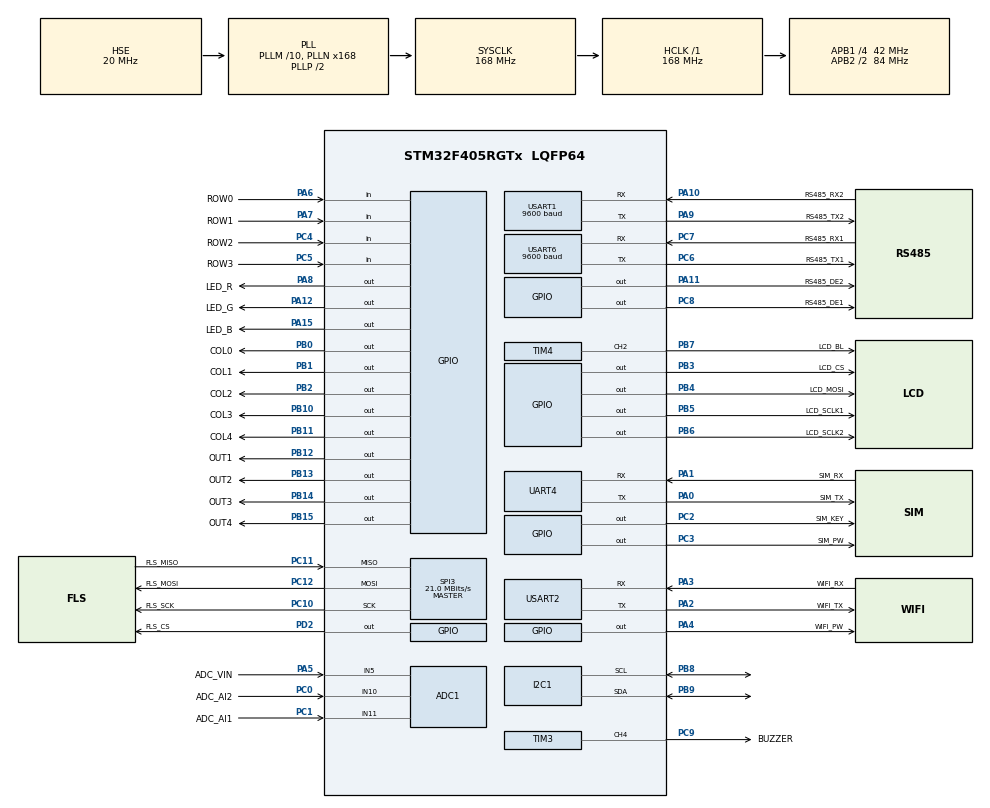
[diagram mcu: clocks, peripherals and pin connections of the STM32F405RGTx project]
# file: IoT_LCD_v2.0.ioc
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ADC1.Channel-0\#ChannelRegularConversion=ADC_CHANNEL_TEMPSENSOR
ADC1.Channel-1\#ChannelRegularConversion=ADC_CHANNEL_5
ADC1.Channel-2\#ChannelRegularConversion=ADC_CHANNEL_10
ADC1.Channel-3\#ChannelRegularConversion=ADC_CHANNEL_11
ADC1.ContinuousConvMode=ENABLE
ADC1.DMAContinuousRequests=ENABLE
ADC1.NbrOfConversion=4
ADC1.NbrOfConversionFlag=1
ADC1.Rank-0\#ChannelRegularConversion=1
ADC1.Rank-1\#ChannelRegularConversion=2
ADC1.Rank-2\#ChannelRegularConversion=3
ADC1.Rank-3\#ChannelRegularConversion=4
ADC1.SamplingTime-0\#ChannelRegularConversion=ADC_SAMPLETIME_480CYCLES
ADC1.SamplingTime-1\#ChannelRegularConversion=ADC_SAMPLETIME_480CYCLES
ADC1.SamplingTime-2\#ChannelRegularConversion=ADC_SAMPLETIME_480CYCLES
ADC1.SamplingTime-3\#ChannelRegularConversion=ADC_SAMPLETIME_480CYCLES
ADC1.master=1
Dma.ADC1.4.Direction=DMA_PERIPH_TO_MEMORY
Dma.ADC1.4.FIFOMode=DMA_FIFOMODE_DISABLE
Dma.ADC1.4.Instance=DMA2_Stream0
Dma.ADC1.4.MemDataAlignment=DMA_MDATAALIGN_HALFWORD
Dma.ADC1.4.MemInc=DMA_MINC_ENABLE
Dma.ADC1.4.Mode=DMA_CIRCULAR
Dma.ADC1.4.PeriphDataAlignment=DMA_PDATAALIGN_HALFWORD
Dma.ADC1.4.PeriphInc=DMA_PINC_DISABLE
Dma.ADC1.4.Priority=DMA_PRIORITY_LOW
Dma.Request0=UART4_RX
Dma.Request1=USART2_RX
Dma.Request2=USART6_RX
Dma.Request3=USART1_RX
Dma.Request4=ADC1
Dma.UART4_RX.0.Direction=DMA_PERIPH_TO_MEMORY
Dma.UART4_RX.0.FIFOMode=DMA_FIFOMODE_DISABLE
Dma.UART4_RX.0.Instance=DMA1_Stream2
Dma.UART4_RX.0.MemDataAlignment=DMA_MDATAALIGN_BYTE
Dma.UART4_RX.0.MemInc=DMA_MINC_ENABLE
Dma.UART4_RX.0.Mode=DMA_CIRCULAR
Dma.UART4_RX.0.PeriphDataAlignment=DMA_PDATAALIGN_BYTE
Dma.UART4_RX.0.PeriphInc=DMA_PINC_DISABLE
Dma.UART4_RX.0.Priority=DMA_PRIORITY_LOW
Dma.USART1_RX.3.Direction=DMA_PERIPH_TO_MEMORY
Dma.USART1_RX.3.FIFOMode=DMA_FIFOMODE_DISABLE
Dma.USART1_RX.3.Instance=DMA2_Stream2
Dma.USART1_RX.3.MemDataAlignment=DMA_MDATAALIGN_BYTE
Dma.USART1_RX.3.MemInc=DMA_MINC_ENABLE
Dma.USART1_RX.3.Mode=DMA_CIRCULAR
Dma.USART1_RX.3.PeriphDataAlignment=DMA_PDATAALIGN_BYTE
Dma.USART1_RX.3.PeriphInc=DMA_PINC_DISABLE
Dma.USART1_RX.3.Priority=DMA_PRIORITY_LOW
Dma.USART2_RX.1.Direction=DMA_PERIPH_TO_MEMORY
Dma.USART2_RX.1.FIFOMode=DMA_FIFOMODE_DISABLE
Dma.USART2_RX.1.Instance=DMA1_Stream5
Dma.USART2_RX.1.MemDataAlignment=DMA_MDATAALIGN_BYTE
Dma.USART2_RX.1.MemInc=DMA_MINC_ENABLE
Dma.USART2_RX.1.Mode=DMA_CIRCULAR
Dma.USART2_RX.1.PeriphDataAlignment=DMA_PDATAALIGN_BYTE
Dma.USART2_RX.1.PeriphInc=DMA_PINC_DISABLE
Dma.USART2_RX.1.Priority=DMA_PRIORITY_LOW
Dma.USART6_RX.2.Direction=DMA_PERIPH_TO_MEMORY
Dma.USART6_RX.2.FIFOMode=DMA_FIFOMODE_DISABLE
Dma.USART6_RX.2.Instance=DMA2_Stream1
Dma.USART6_RX.2.MemDataAlignment=DMA_MDATAALIGN_BYTE
Dma.USART6_RX.2.MemInc=DMA_MINC_ENABLE
Dma.USART6_RX.2.Mode=DMA_CIRCULAR
Dma.USART6_RX.2.PeriphDataAlignment=DMA_PDATAALIGN_BYTE
Dma.USART6_RX.2.PeriphInc=DMA_PINC_DISABLE
Dma.USART6_RX.2.Priority=DMA_PRIORITY_LOW
FREERTOS.Queues01=modbusLCDQueue,1,uint8_t,0,Dynamic,NULL,NULL;modbusNetworkQueue,1,uint8_t,0,Dynamic,NULL,NULL;changeNumConfigQueue,1,uint8_t,0,Dynamic,NULL,NULL;writeConfigQueue,1,uint8_t,0,Dynamic,NULL,NULL;responseWriteQueue,1,uint8_t,0,Dynamic,NULL,NULL;fetchControlQueue,1,uint8_t,0,Dynamic,NULL,NULL;modbusCalibQueue,1,ModbusCalib,0,Dynamic,NULL,NULL;responseCommandCalib,1,uint8_t,0,Dynamic,NULL,NULL;displayStatusCalib,1,uint8_t,0,Dynamic,NULL,NULL;responseStatusCalibQueue,1,ResponseCalib,0,Dynamic,NULL,NULL;flagGetValueCalib,1,uint8_t,0,Dynamic,NULL,NULL
FREERTOS.Tasks01=initTask,40,1024,StartInitTask,Default,NULL,Dynamic,NULL,NULL;displayLCDTask,24,2048,StartDisplayLCDTask,Default,NULL,Dynamic,NULL,NULL;modbusMasterTas,24,2048,StartModbusMasterTask,Default,NULL,Dynamic,NULL,NULL;modbusSlaveTask,24,2048,StartModbusSlaveTask,Default,NULL,Dynamic,NULL,NULL;networkTask,24,2048,StartNetworkTask,Default,NULL,Dynamic,NULL,NULL
FREERTOS.configTOTAL_HEAP_SIZE=51200
FREERTOS.configUSE_IDLE_HOOK=1
FREERTOS.configUSE_NEWLIB_REENTRANT=1
FREERTOS.configUSE_TICK_HOOK=1
IWDG.Prescaler=IWDG_PRESCALER_256
Mcu.Family=STM32F4
Mcu.Name=STM32F405RGTx
Mcu.Package=LQFP64
NVIC.ADC_IRQn=true\:5\:0\:false\:false\:true\:true\:true\:true
NVIC.DMA1_Stream2_IRQn=true\:5\:0\:false\:false\:true\:true\:false\:true
NVIC.DMA1_Stream5_IRQn=true\:5\:0\:false\:false\:true\:true\:false\:true
NVIC.DMA2_Stream0_IRQn=true\:5\:0\:false\:false\:true\:true\:false\:true
NVIC.DMA2_Stream1_IRQn=true\:5\:0\:false\:false\:true\:true\:false\:true
NVIC.DMA2_Stream2_IRQn=true\:5\:0\:false\:false\:true\:true\:false\:true
NVIC.PriorityGroup=NVIC_PRIORITYGROUP_4
NVIC.SPI3_IRQn=true\:5\:0\:false\:false\:true\:true\:true\:true
NVIC.TIM1_UP_TIM10_IRQn=true\:15\:0\:false\:false\:true\:false\:false\:true
NVIC.TIM8_UP_TIM13_IRQn=true\:5\:0\:false\:false\:true\:true\:true\:true
NVIC.TimeBase=TIM1_UP_TIM10_IRQn
NVIC.TimeBaseIP=TIM1
NVIC.UART4_IRQn=true\:5\:0\:false\:false\:true\:true\:true\:true
NVIC.USART1_IRQn=true\:5\:0\:false\:false\:true\:true\:true\:true
NVIC.USART2_IRQn=true\:5\:0\:false\:false\:true\:true\:true\:true
NVIC.USART6_IRQn=true\:5\:0\:false\:false\:true\:true\:true\:true
PA0-WKUP.GPIO_Label=SIM_TX
PA0-WKUP.Mode=Asynchronous
PA0-WKUP.Signal=UART4_TX
PA1.GPIO_Label=SIM_RX
PA1.Mode=Asynchronous
PA1.Signal=UART4_RX
PA10.GPIO_Label=RS485_RX2
PA10.Mode=Asynchronous
PA10.Signal=USART1_RX
PA11.GPIO_Label=RS485_DE2
PA11.Signal=GPIO_Output
PA12.GPIO_Label=LED_G
PA12.Signal=GPIO_Output
PA13.GPIO_Label=DBG_DIO
PA13.Mode=Serial_Wire
PA13.Signal=SYS_JTMS-SWDIO
PA14.GPIO_Label=DBG_CLK
PA14.Mode=Serial_Wire
PA14.Signal=SYS_JTCK-SWCLK
PA15.GPIO_Label=LED_B
PA15.Signal=GPIO_Output
PA2.GPIO_Label=WIFI_TX
PA2.Mode=Asynchronous
PA2.Signal=USART2_TX
PA3.GPIO_Label=WIFI_RX
PA3.Mode=Asynchronous
PA3.Signal=USART2_RX
PA4.GPIO_Label=WIFI_PW
PA4.Signal=GPIO_Output
PA5.GPIO_Label=ADC_VIN
PA5.Signal=ADCx_IN5
PA6.GPIO_Label=ROW0
PA6.GPIO_PuPd=GPIO_PULLUP
PA6.Signal=GPIO_Input
PA7.GPIO_Label=ROW1
PA7.GPIO_PuPd=GPIO_PULLUP
PA7.Signal=GPIO_Input
PA8.GPIO_Label=LED_R
PA8.Signal=GPIO_Output
PA9.GPIO_Label=RS485_TX2
PA9.Mode=Asynchronous
PA9.Signal=USART1_TX
PB0.GPIO_Label=COL0
PB0.GPIO_Speed=GPIO_SPEED_FREQ_HIGH
PB0.PinState=GPIO_PIN_SET
PB0.Signal=GPIO_Output
PB1.GPIO_Label=COL1
PB1.GPIO_Speed=GPIO_SPEED_FREQ_HIGH
PB1.PinState=GPIO_PIN_SET
PB1.Signal=GPIO_Output
PB10.GPIO_Label=COL3
PB10.GPIO_Speed=GPIO_SPEED_FREQ_HIGH
PB10.PinState=GPIO_PIN_SET
PB10.Signal=GPIO_Output
PB11.GPIO_Label=COL4
PB11.GPIO_Speed=GPIO_SPEED_FREQ_HIGH
PB11.PinState=GPIO_PIN_SET
PB11.Signal=GPIO_Output
PB12.GPIO_Label=OUT1
PB12.Signal=GPIO_Output
PB13.GPIO_Label=OUT2
PB13.Signal=GPIO_Output
PB14.GPIO_Label=OUT3
PB14.Signal=GPIO_Output
PB15.GPIO_Label=OUT4
PB15.Signal=GPIO_Output
PB2.GPIO_Label=COL2
PB2.GPIO_Speed=GPIO_SPEED_FREQ_HIGH
PB2.PinState=GPIO_PIN_SET
PB2.Signal=GPIO_Output
PB3.GPIO_Label=LCD_CS
PB3.GPIO_Speed=GPIO_SPEED_FREQ_VERY_HIGH
PB3.Signal=GPIO_Output
PB4.GPIO_Label=LCD_MOSI
PB4.GPIO_Speed=GPIO_SPEED_FREQ_VERY_HIGH
PB4.Signal=GPIO_Output
PB5.GPIO_Label=LCD_SCLK1
PB5.GPIO_Speed=GPIO_SPEED_FREQ_VERY_HIGH
PB5.Signal=GPIO_Output
PB6.GPIO_Label=LCD_SCLK2
PB6.GPIO_Speed=GPIO_SPEED_FREQ_VERY_HIGH
PB6.Signal=GPIO_Output
PB7.GPIO_Label=LCD_BL
PB7.Signal=S_TIM4_CH2
PB8.Mode=I2C
PB8.Signal=I2C1_SCL
PB9.Mode=I2C
PB9.Signal=I2C1_SDA
PC0.GPIO_Label=ADC_AI2
PC0.Signal=ADCx_IN10
PC1.GPIO_Label=ADC_AI1
PC1.Signal=ADCx_IN11
PC10.GPIO_Label=FLS_SCK
PC10.Mode=Full_Duplex_Master
PC10.Signal=SPI3_SCK
PC11.GPIO_Label=FLS_MISO
PC11.Mode=Full_Duplex_Master
PC11.Signal=SPI3_MISO
PC12.GPIO_Label=FLS_MOSI
PC12.Mode=Full_Duplex_Master
PC12.Signal=SPI3_MOSI
PC14-OSC32_IN.Mode=LSE-External-Oscillator
PC14-OSC32_IN.Signal=RCC_OSC32_IN
PC15-OSC32_OUT.Mode=LSE-External-Oscillator
PC15-OSC32_OUT.Signal=RCC_OSC32_OUT
PC2.GPIO_Label=SIM_KEY
PC2.Signal=GPIO_Output
PC3.GPIO_Label=SIM_PW
PC3.Signal=GPIO_Output
PC4.GPIO_Label=ROW2
PC4.GPIO_PuPd=GPIO_PULLUP
PC4.Signal=GPIO_Input
PC5.GPIO_Label=ROW3
PC5.GPIO_PuPd=GPIO_PULLUP
PC5.Signal=GPIO_Input
PC6.GPIO_Label=RS485_TX1
PC6.Mode=Asynchronous
PC6.Signal=USART6_TX
PC7.GPIO_Label=RS485_RX1
PC7.Mode=Asynchronous
PC7.Signal=USART6_RX
PC8.GPIO_Label=RS485_DE1
PC8.Signal=GPIO_Output
PC9.GPIO_Label=BUZZER
PC9.Signal=S_TIM3_CH4
PD2.GPIO_Label=FLS_CS
PD2.GPIO_Speed=GPIO_SPEED_FREQ_VERY_HIGH
PD2.Signal=GPIO_Output
PH0-OSC_IN.Mode=HSE-External-Oscillator
PH0-OSC_IN.Signal=RCC_OSC_IN
PH1-OSC_OUT.Mode=HSE-External-Oscillator
PH1-OSC_OUT.Signal=RCC_OSC_OUT
ProjectManager.HeapSize=0x200
ProjectManager.StackSize=0x400
ProjectManager.TargetToolchain=STM32CubeIDE
RCC.48MHZClocksFreq_Value=84000000
RCC.AHBFreq_Value=168000000
RCC.APB1CLKDivider=RCC_HCLK_DIV4
RCC.APB1Freq_Value=42000000
RCC.APB1TimFreq_Value=84000000
RCC.APB2CLKDivider=RCC_HCLK_DIV2
RCC.APB2Freq_Value=84000000
RCC.APB2TimFreq_Value=168000000
RCC.CortexFreq_Value=168000000
RCC.HCLKFreq_Value=168000000
RCC.HSE_VALUE=20000000
RCC.HSI_VALUE=16000000
RCC.PLLM=10
RCC.PLLN=168
RCC.PLLSourceVirtual=RCC_PLLSOURCE_HSE
RCC.RCC_RTC_Clock_Source=RCC_RTCCLKSOURCE_LSE
RCC.RCC_RTC_Clock_SourceVirtual=RCC_RTCCLKSOURCE_LSE
RCC.SYSCLKFreq_VALUE=168000000
RCC.SYSCLKSource=RCC_SYSCLKSOURCE_PLLCLK
RCC.VCOOutputFreq_Value=336000000
SH.ADCx_IN10.0=ADC1_IN10,IN10
SH.ADCx_IN11.0=ADC1_IN11,IN11
SH.ADCx_IN5.0=ADC1_IN5,IN5
SH.S_TIM3_CH4.0=TIM3_CH4,PWM Generation4 CH4
SH.S_TIM4_CH2.0=TIM4_CH2,PWM Generation2 CH2
SPI3.CalculateBaudRate=21.0 MBits/s
SPI3.Direction=SPI_DIRECTION_2LINES
SPI3.Mode=SPI_MODE_MASTER
SPI3.VirtualType=VM_MASTER
TIM13.Prescaler=83
TIM3.Channel-PWM\ Generation4\ CH4=TIM_CHANNEL_4
TIM3.Period=999
TIM3.Prescaler=55
TIM3.Pulse-PWM\ Generation4\ CH4=499
TIM4.Channel-PWM\ Generation2\ CH2=TIM_CHANNEL_2
TIM4.Period=99
TIM4.Prescaler=839
TIM4.Pulse-PWM\ Generation2\ CH2=49
UART4.VirtualMode=Asynchronous
USART1.BaudRate=9600
USART1.VirtualMode=VM_ASYNC
USART2.VirtualMode=VM_ASYNC
USART6.BaudRate=9600
USART6.VirtualMode=VM_ASYNC
VP_ADC1_TempSens_Input.Mode=IN-TempSens
VP_FREERTOS_VS_CMSIS_V2.Mode=CMSIS_V2
VP_IWDG_VS_IWDG.Mode=IWDG_Activate
VP_RTC_VS_RTC_Activate.Mode=RTC_Enabled
VP_RTC_VS_RTC_Calendar.Mode=RTC_Calendar
VP_SYS_VS_tim1.Mode=TIM1
VP_TIM13_VS_ClockSourceINT.Mode=Enable_Timer
board=custom

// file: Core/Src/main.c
/* USER CODE BEGIN Header */
/**
  ******************************************************************************
  * @file           : main.c
  * @brief          : Main program body
  ******************************************************************************
  * @attention
  *
  * <h2><center>&copy; Copyright (c) 2021 STMicroelectronics.
  * All rights reserved.</center></h2>
  *
  * This software component is licensed by ST under BSD 3-Clause license,
  * the "License"; You may not use this file except in compliance with the
  * License. You may obtain a copy of the License at:
  *                        opensource.org/licenses/BSD-3-Clause
  *
  ******************************************************************************
  */
/* USER CODE END Header */
#include "main.h"
#include "cmsis_os.h"

/* USER CODE BEGIN Includes */
#include "process.hpp"
#include "lcd_display.hpp"
#include "ButtonMatrix.h"
#include "type_list.hpp"
#include "network.hpp"
#include "internal_flash.hpp"
#include "spi_flash.hpp"
/* USER CODE END Includes */

ADC_HandleTypeDef hadc1;
DMA_HandleTypeDef hdma_adc1;

I2C_HandleTypeDef hi2c1;

IWDG_HandleTypeDef hiwdg;

RTC_HandleTypeDef hrtc;

SPI_HandleTypeDef hspi3;

TIM_HandleTypeDef htim3;
TIM_HandleTypeDef htim4;
TIM_HandleTypeDef htim13;

UART_HandleTypeDef huart4;
UART_HandleTypeDef huart1;
UART_HandleTypeDef huart2;
UART_HandleTypeDef huart6;
DMA_HandleTypeDef hdma_uart4_rx;
DMA_HandleTypeDef hdma_usart1_rx;
DMA_HandleTypeDef hdma_usart2_rx;
DMA_HandleTypeDef hdma_usart6_rx;

/* Definitions for initTask */
osThreadId_t initTaskHandle;
const osThreadAttr_t initTask_attributes = {
  .name = "initTask",
  .stack_size = 1024 * 4,
  .priority = (osPriority_t) osPriorityHigh,
};
/* Definitions for displayLCDTask */
osThreadId_t displayLCDTaskHandle;
const osThreadAttr_t displayLCDTask_attributes = {
  .name = "displayLCDTask",
  .stack_size = 2048 * 4,
  .priority = (osPriority_t) osPriorityNormal,
};
/* Definitions for modbusMasterTas */
osThreadId_t modbusMasterTasHandle;
const osThreadAttr_t modbusMasterTas_attributes = {
  .name = "modbusMasterTas",
  .stack_size = 2048 * 4,
  .priority = (osPriority_t) osPriorityNormal,
};
/* Definitions for modbusSlaveTask */
osThreadId_t modbusSlaveTaskHandle;
const osThreadAttr_t modbusSlaveTask_attributes = {
  .name = "modbusSlaveTask",
  .stack_size = 2048 * 4,
  .priority = (osPriority_t) osPriorityNormal,
};
/* Definitions for networkTask */
osThreadId_t networkTaskHandle;
const osThreadAttr_t networkTask_attributes = {
  .name = "networkTask",
  .stack_size = 2048 * 4,
  .priority = (osPriority_t) osPriorityNormal,
};
/* Definitions for modbusLCDQueue */
osMessageQueueId_t modbusLCDQueueHandle;
const osMessageQueueAttr_t modbusLCDQueue_attributes = {
  .name = "modbusLCDQueue"
};
/* Definitions for modbusNetworkQueue */
osMessageQueueId_t modbusNetworkQueueHandle;
const osMessageQueueAttr_t modbusNetworkQueue_attributes = {
  .name = "modbusNetworkQueue"
};
/* Definitions for changeNumConfigQueue */
osMessageQueueId_t changeNumConfigQueueHandle;
const osMessageQueueAttr_t changeNumConfigQueue_attributes = {
  .name = "changeNumConfigQueue"
};
/* Definitions for writeConfigQueue */
osMessageQueueId_t writeConfigQueueHandle;
const osMessageQueueAttr_t writeConfigQueue_attributes = {
  .name = "writeConfigQueue"
};
/* Definitions for responseWriteQueue */
osMessageQueueId_t responseWriteQueueHandle;
const osMessageQueueAttr_t responseWriteQueue_attributes = {
  .name = "responseWriteQueue"
};
/* Definitions for fetchControlQueue */
osMessageQueueId_t fetchControlQueueHandle;
const osMessageQueueAttr_t fetchControlQueue_attributes = {
  .name = "fetchControlQueue"
};
/* Definitions for modbusCalibQueue */
osMessageQueueId_t modbusCalibQueueHandle;
const osMessageQueueAttr_t modbusCalibQueue_attributes = {
  .name = "modbusCalibQueue"
};
/* Definitions for responseCommandCalib */
osMessageQueueId_t responseCommandCalibHandle;
const osMessageQueueAttr_t responseCommandCalib_attributes = {
  .name = "responseCommandCalib"
};
/* Definitions for displayStatusCalib */
osMessageQueueId_t displayStatusCalibHandle;
const osMessageQueueAttr_t displayStatusCalib_attributes = {
  .name = "displayStatusCalib"
};
/* Definitions for responseStatusCalibQueue */
osMessageQueueId_t responseStatusCalibQueueHandle;
const osMessageQueueAttr_t responseStatusCalibQueue_attributes = {
  .name = "responseStatusCalibQueue"
};
/* Definitions for flagGetValueCalib */
osMessageQueueId_t flagGetValueCalibHandle;
const osMessageQueueAttr_t flagGetValueCalib_attributes = {
  .name = "flagGetValueCalib"
};

void SystemClock_Config(void);
static void MX_GPIO_Init(void);
static void MX_RTC_Init(void);
static void MX_DMA_Init(void);
static void MX_IWDG_Init(void);
static void MX_UART4_Init(void);
static void MX_USART2_UART_Init(void);
static void MX_USART6_UART_Init(void);
static void MX_USART1_UART_Init(void);
static void MX_ADC1_Init(void);
static void MX_SPI3_Init(void);
static void MX_I2C1_Init(void);
static void MX_TIM3_Init(void);
static void MX_TIM4_Init(void);
static void MX_TIM13_Init(void);
void StartInitTask(void *argument);
void StartDisplayLCDTask(void *argument);
void StartModbusMasterTask(void *argument);
void StartModbusSlaveTask(void *argument);
void StartNetworkTask(void *argument);

int main(void)
{
  /* USER CODE BEGIN 1 */
	System_GetLastReason();
  /* USER CODE END 1 */

  /* MCU Configuration--------------------------------------------------------*/

  /* Reset of all peripherals, Initializes the Flash interface and the Systick. */
  HAL_Init();

  /* Configure the system clock */
  SystemClock_Config();

  /* Initialize all configured peripherals */
  MX_GPIO_Init();
  MX_RTC_Init();
  MX_DMA_Init();
  MX_IWDG_Init();
  MX_UART4_Init();
  MX_USART2_UART_Init();
  MX_USART6_UART_Init();
  MX_USART1_UART_Init();
  MX_ADC1_Init();
  MX_SPI3_Init();
  MX_I2C1_Init();
  MX_TIM3_Init();
  MX_TIM4_Init();
  MX_TIM13_Init();

  /* Init scheduler */
  osKernelInitialize();

  /* Create the queue(s) */
  /* creation of modbusLCDQueue */
  modbusLCDQueueHandle = osMessageQueueNew (1, sizeof(uint8_t), &modbusLCDQueue_attributes);

  /* creation of modbusNetworkQueue */
  modbusNetworkQueueHandle = osMessageQueueNew (1, sizeof(uint8_t), &modbusNetworkQueue_attributes);

  /* creation of changeNumConfigQueue */
  changeNumConfigQueueHandle = osMessageQueueNew (1, sizeof(uint8_t), &changeNumConfigQueue_attributes);

  /* creation of writeConfigQueue */
  writeConfigQueueHandle = osMessageQueueNew (1, sizeof(uint8_t), &writeConfigQueue_attributes);

  /* creation of responseWriteQueue */
  responseWriteQueueHandle = osMessageQueueNew (1, sizeof(uint8_t), &responseWriteQueue_attributes);

  /* creation of fetchControlQueue */
  fetchControlQueueHandle = osMessageQueueNew (1, sizeof(uint8_t), &fetchControlQueue_attributes);

  /* creation of modbusCalibQueue */
  modbusCalibQueueHandle = osMessageQueueNew (1, sizeof(ModbusCalib), &modbusCalibQueue_attributes);

  /* creation of responseCommandCalib */
  responseCommandCalibHandle = osMessageQueueNew (1, sizeof(uint8_t), &responseCommandCalib_attributes);

  /* creation of displayStatusCalib */
  displayStatusCalibHandle = osMessageQueueNew (1, sizeof(uint8_t), &displayStatusCalib_attributes);

  /* creation of responseStatusCalibQueue */
  responseStatusCalibQueueHandle = osMessageQueueNew (1, sizeof(ResponseCalib), &responseStatusCalibQueue_attributes);

  /* creation of flagGetValueCalib */
  flagGetValueCalibHandle = osMessageQueueNew (1, sizeof(uint8_t), &flagGetValueCalib_attributes);

  /* Create the thread(s) */
  /* creation of initTask */
  initTaskHandle = osThreadNew(StartInitTask, NULL, &initTask_attributes);

  /* creation of displayLCDTask */
  displayLCDTaskHandle = osThreadNew(StartDisplayLCDTask, NULL, &displayLCDTask_attributes);

  /* creation of modbusMasterTas */
  modbusMasterTasHandle = osThreadNew(StartModbusMasterTask, NULL, &modbusMasterTas_attributes);

  /* creation of modbusSlaveTask */
  modbusSlaveTaskHandle = osThreadNew(StartModbusSlaveTask, NULL, &modbusSlaveTask_attributes);

  /* creation of networkTask */
  networkTaskHandle = osThreadNew(StartNetworkTask, NULL, &networkTask_attributes);

  /* Start scheduler */
  osKernelStart();

  /* We should never get here as control is now taken by the scheduler */
  /* Infinite loop */
  while (1)
  {

  }
}

void SystemClock_Config(void)
{
  RCC_OscInitTypeDef RCC_OscInitStruct = {0};
  RCC_ClkInitTypeDef RCC_ClkInitStruct = {0};

  /** Configure the main internal regulator output voltage
  */
  __HAL_RCC_PWR_CLK_ENABLE();
  __HAL_PWR_VOLTAGESCALING_CONFIG(PWR_REGULATOR_VOLTAGE_SCALE1);
  /** Initializes the RCC Oscillators according to the specified parameters
  * in the RCC_OscInitTypeDef structure.
  */
  RCC_OscInitStruct.OscillatorType = RCC_OSCILLATORTYPE_LSI|RCC_OSCILLATORTYPE_HSE
                              |RCC_OSCILLATORTYPE_LSE;
  RCC_OscInitStruct.HSEState = RCC_HSE_ON;
  RCC_OscInitStruct.LSEState = RCC_LSE_ON;
  RCC_OscInitStruct.LSIState = RCC_LSI_ON;
  RCC_OscInitStruct.PLL.PLLState = RCC_PLL_ON;
  RCC_OscInitStruct.PLL.PLLSource = RCC_PLLSOURCE_HSE;
  RCC_OscInitStruct.PLL.PLLM = 10;
  RCC_OscInitStruct.PLL.PLLN = 168;
  RCC_OscInitStruct.PLL.PLLP = RCC_PLLP_DIV2;
  RCC_OscInitStruct.PLL.PLLQ = 4;
  if (HAL_RCC_OscConfig(&RCC_OscInitStruct) != HAL_OK)
  {
    Error_Handler();
  }
  /** Initializes the CPU, AHB and APB buses clocks
  */
  RCC_ClkInitStruct.ClockType = RCC_CLOCKTYPE_HCLK|RCC_CLOCKTYPE_SYSCLK
                              |RCC_CLOCKTYPE_PCLK1|RCC_CLOCKTYPE_PCLK2;
  RCC_ClkInitStruct.SYSCLKSource = RCC_SYSCLKSOURCE_PLLCLK;
  RCC_ClkInitStruct.AHBCLKDivider = RCC_SYSCLK_DIV1;
  RCC_ClkInitStruct.APB1CLKDivider = RCC_HCLK_DIV4;
  RCC_ClkInitStruct.APB2CLKDivider = RCC_HCLK_DIV2;

  if (HAL_RCC_ClockConfig(&RCC_ClkInitStruct, FLASH_LATENCY_5) != HAL_OK)
  {
    Error_Handler();
  }
}

static void MX_ADC1_Init(void)
{

  ADC_ChannelConfTypeDef sConfig = {0};

  /** Configure the global features of the ADC (Clock, Resolution, Data Alignment and number of conversion)
  */
  hadc1.Instance = ADC1;
  hadc1.Init.ClockPrescaler = ADC_CLOCK_SYNC_PCLK_DIV4;
  hadc1.Init.Resolution = ADC_RESOLUTION_12B;
  hadc1.Init.ScanConvMode = ENABLE;
  hadc1.Init.ContinuousConvMode = ENABLE;
  hadc1.Init.DiscontinuousConvMode = DISABLE;
  hadc1.Init.ExternalTrigConvEdge = ADC_EXTERNALTRIGCONVEDGE_NONE;
  hadc1.Init.ExternalTrigConv = ADC_SOFTWARE_START;
  hadc1.Init.DataAlign = ADC_DATAALIGN_RIGHT;
  hadc1.Init.NbrOfConversion = 4;
  hadc1.Init.DMAContinuousRequests = ENABLE;
  hadc1.Init.EOCSelection = ADC_EOC_SINGLE_CONV;
  if (HAL_ADC_Init(&hadc1) != HAL_OK)
  {
    Error_Handler();
  }
  /** Configure for the selected ADC regular channel its corresponding rank in the sequencer and its sample time.
  */
  sConfig.Channel = ADC_CHANNEL_TEMPSENSOR;
  sConfig.Rank = 1;
  sConfig.SamplingTime = ADC_SAMPLETIME_480CYCLES;
  if (HAL_ADC_ConfigChannel(&hadc1, &sConfig) != HAL_OK)
  {
    Error_Handler();
  }
  /** Configure for the selected ADC regular channel its corresponding rank in the sequencer and its sample time.
  */
  sConfig.Channel = ADC_CHANNEL_5;
  sConfig.Rank = 2;
  if (HAL_ADC_ConfigChannel(&hadc1, &sConfig) != HAL_OK)
  {
    Error_Handler();
  }
  /** Configure for the selected ADC regular channel its corresponding rank in the sequencer and its sample time.
  */
  sConfig.Channel = ADC_CHANNEL_10;
  sConfig.Rank = 3;
  if (HAL_ADC_ConfigChannel(&hadc1, &sConfig) != HAL_OK)
  {
    Error_Handler();
  }
  /** Configure for the selected ADC regular channel its corresponding rank in the sequencer and its sample time.
  */
  sConfig.Channel = ADC_CHANNEL_11;
  sConfig.Rank = 4;
  if (HAL_ADC_ConfigChannel(&hadc1, &sConfig) != HAL_OK)
  {
    Error_Handler();
  }

}

static void MX_I2C1_Init(void)
{

  hi2c1.Instance = I2C1;
  hi2c1.Init.ClockSpeed = 100000;
  hi2c1.Init.DutyCycle = I2C_DUTYCYCLE_2;
  hi2c1.Init.OwnAddress1 = 0;
  hi2c1.Init.AddressingMode = I2C_ADDRESSINGMODE_7BIT;
  hi2c1.Init.DualAddressMode = I2C_DUALADDRESS_DISABLE;
  hi2c1.Init.OwnAddress2 = 0;
  hi2c1.Init.GeneralCallMode = I2C_GENERALCALL_DISABLE;
  hi2c1.Init.NoStretchMode = I2C_NOSTRETCH_DISABLE;
  if (HAL_I2C_Init(&hi2c1) != HAL_OK)
  {
    Error_Handler();
  }

}

static void MX_IWDG_Init(void)
{

  /* USER CODE BEGIN IWDG_Init 0 */
	__HAL_DBGMCU_FREEZE_IWDG();
  /* USER CODE END IWDG_Init 0 */

  hiwdg.Instance = IWDG;
  hiwdg.Init.Prescaler = IWDG_PRESCALER_256;
  hiwdg.Init.Reload = 4095;
  if (HAL_IWDG_Init(&hiwdg) != HAL_OK)
  {
    Error_Handler();
  }

}

static void MX_RTC_Init(void)
{

  RTC_TimeTypeDef sTime = {0};
  RTC_DateTypeDef sDate = {0};

  /** Initialize RTC Only
  */
  hrtc.Instance = RTC;
  hrtc.Init.HourFormat = RTC_HOURFORMAT_24;
  hrtc.Init.AsynchPrediv = 127;
  hrtc.Init.SynchPrediv = 255;
  hrtc.Init.OutPut = RTC_OUTPUT_DISABLE;
  hrtc.Init.OutPutPolarity = RTC_OUTPUT_POLARITY_HIGH;
  hrtc.Init.OutPutType = RTC_OUTPUT_TYPE_OPENDRAIN;
  if (HAL_RTC_Init(&hrtc) != HAL_OK)
  {
    Error_Handler();
  }

  /* USER CODE BEGIN Check_RTC_BKUP */
  if(HAL_RTCEx_BKUPRead(&hrtc, RTC_BKP_DR1) == 0x2710)
  	return;
  /* USER CODE END Check_RTC_BKUP */

  /** Initialize RTC and set the Time and Date
  */
  sTime.Hours = 0x0;
  sTime.Minutes = 0x0;
  sTime.Seconds = 0x0;
  sTime.DayLightSaving = RTC_DAYLIGHTSAVING_NONE;
  sTime.StoreOperation = RTC_STOREOPERATION_RESET;
  if (HAL_RTC_SetTime(&hrtc, &sTime, RTC_FORMAT_BCD) != HAL_OK)
  {
    Error_Handler();
  }
  sDate.WeekDay = RTC_WEEKDAY_MONDAY;
  sDate.Month = RTC_MONTH_JANUARY;
  sDate.Date = 0x1;
  sDate.Year = 0x0;

  if (HAL_RTC_SetDate(&hrtc, &sDate, RTC_FORMAT_BCD) != HAL_OK)
  {
    Error_Handler();
  }
  /* USER CODE BEGIN RTC_Init 2 */
  HAL_RTCEx_BKUPWrite(&hrtc, RTC_BKP_DR1, 0x2710);
  /* USER CODE END RTC_Init 2 */

}

static void MX_SPI3_Init(void)
{

  /* SPI3 parameter configuration*/
  hspi3.Instance = SPI3;
  hspi3.Init.Mode = SPI_MODE_MASTER;
  hspi3.Init.Direction = SPI_DIRECTION_2LINES;
  hspi3.Init.DataSize = SPI_DATASIZE_8BIT;
  hspi3.Init.CLKPolarity = SPI_POLARITY_LOW;
  hspi3.Init.CLKPhase = SPI_PHASE_1EDGE;
  hspi3.Init.NSS = SPI_NSS_SOFT;
  hspi3.Init.BaudRatePrescaler = SPI_BAUDRATEPRESCALER_2;
  hspi3.Init.FirstBit = SPI_FIRSTBIT_MSB;
  hspi3.Init.TIMode = SPI_TIMODE_DISABLE;
  hspi3.Init.CRCCalculation = SPI_CRCCALCULATION_DISABLE;
  hspi3.Init.CRCPolynomial = 10;
  if (HAL_SPI_Init(&hspi3) != HAL_OK)
  {
    Error_Handler();
  }

}

static void MX_TIM3_Init(void)
{

  TIM_MasterConfigTypeDef sMasterConfig = {0};
  TIM_OC_InitTypeDef sConfigOC = {0};

  htim3.Instance = TIM3;
  htim3.Init.Prescaler = 55;
  htim3.Init.CounterMode = TIM_COUNTERMODE_UP;
  htim3.Init.Period = 999;
  htim3.Init.ClockDivision = TIM_CLOCKDIVISION_DIV1;
  htim3.Init.AutoReloadPreload = TIM_AUTORELOAD_PRELOAD_DISABLE;
  if (HAL_TIM_PWM_Init(&htim3) != HAL_OK)
  {
    Error_Handler();
  }
  sMasterConfig.MasterOutputTrigger = TIM_TRGO_RESET;
  sMasterConfig.MasterSlaveMode = TIM_MASTERSLAVEMODE_DISABLE;
  if (HAL_TIMEx_MasterConfigSynchronization(&htim3, &sMasterConfig) != HAL_OK)
  {
    Error_Handler();
  }
  sConfigOC.OCMode = TIM_OCMODE_PWM1;
  sConfigOC.Pulse = 499;
  sConfigOC.OCPolarity = TIM_OCPOLARITY_HIGH;
  sConfigOC.OCFastMode = TIM_OCFAST_DISABLE;
  if (HAL_TIM_PWM_ConfigChannel(&htim3, &sConfigOC, TIM_CHANNEL_4) != HAL_OK)
  {
    Error_Handler();
  }
  HAL_TIM_MspPostInit(&htim3);

}

static void MX_TIM4_Init(void)
{

  TIM_MasterConfigTypeDef sMasterConfig = {0};
  TIM_OC_InitTypeDef sConfigOC = {0};

  htim4.Instance = TIM4;
  htim4.Init.Prescaler = 839;
  htim4.Init.CounterMode = TIM_COUNTERMODE_UP;
  htim4.Init.Period = 99;
  htim4.Init.ClockDivision = TIM_CLOCKDIVISION_DIV1;
  htim4.Init.AutoReloadPreload = TIM_AUTORELOAD_PRELOAD_DISABLE;
  if (HAL_TIM_PWM_Init(&htim4) != HAL_OK)
  {
    Error_Handler();
  }
  sMasterConfig.MasterOutputTrigger = TIM_TRGO_RESET;
  sMasterConfig.MasterSlaveMode = TIM_MASTERSLAVEMODE_DISABLE;
  if (HAL_TIMEx_MasterConfigSynchronization(&htim4, &sMasterConfig) != HAL_OK)
  {
    Error_Handler();
  }
  sConfigOC.OCMode = TIM_OCMODE_PWM1;
  sConfigOC.Pulse = 49;
  sConfigOC.OCPolarity = TIM_OCPOLARITY_HIGH;
  sConfigOC.OCFastMode = TIM_OCFAST_DISABLE;
  if (HAL_TIM_PWM_ConfigChannel(&htim4, &sConfigOC, TIM_CHANNEL_2) != HAL_OK)
  {
    Error_Handler();
  }
  HAL_TIM_MspPostInit(&htim4);

}

static void MX_TIM13_Init(void)
{

  htim13.Instance = TIM13;
  htim13.Init.Prescaler = 83;
  htim13.Init.CounterMode = TIM_COUNTERMODE_UP;
  htim13.Init.Period = 65535;
  htim13.Init.ClockDivision = TIM_CLOCKDIVISION_DIV1;
  htim13.Init.AutoReloadPreload = TIM_AUTORELOAD_PRELOAD_DISABLE;
  if (HAL_TIM_Base_Init(&htim13) != HAL_OK)
  {
    Error_Handler();
  }

}

static void MX_UART4_Init(void)
{

  huart4.Instance = UART4;
  huart4.Init.BaudRate = 115200;
  huart4.Init.WordLength = UART_WORDLENGTH_8B;
  huart4.Init.StopBits = UART_STOPBITS_1;
  huart4.Init.Parity = UART_PARITY_NONE;
  huart4.Init.Mode = UART_MODE_TX_RX;
  huart4.Init.HwFlowCtl = UART_HWCONTROL_NONE;
  huart4.Init.OverSampling = UART_OVERSAMPLING_16;
  if (HAL_UART_Init(&huart4) != HAL_OK)
  {
    Error_Handler();
  }

}

static void MX_USART1_UART_Init(void)
{

  huart1.Instance = USART1;
  huart1.Init.BaudRate = 9600;
  huart1.Init.WordLength = UART_WORDLENGTH_8B;
  huart1.Init.StopBits = UART_STOPBITS_1;
  huart1.Init.Parity = UART_PARITY_NONE;
  huart1.Init.Mode = UART_MODE_TX_RX;
  huart1.Init.HwFlowCtl = UART_HWCONTROL_NONE;
  huart1.Init.OverSampling = UART_OVERSAMPLING_16;
  if (HAL_UART_Init(&huart1) != HAL_OK)
  {
    Error_Handler();
  }

}

static void MX_USART2_UART_Init(void)
{

  huart2.Instance = USART2;
  huart2.Init.BaudRate = 115200;
  huart2.Init.WordLength = UART_WORDLENGTH_8B;
  huart2.Init.StopBits = UART_STOPBITS_1;
  huart2.Init.Parity = UART_PARITY_NONE;
  huart2.Init.Mode = UART_MODE_TX_RX;
  huart2.Init.HwFlowCtl = UART_HWCONTROL_NONE;
  huart2.Init.OverSampling = UART_OVERSAMPLING_16;
  if (HAL_UART_Init(&huart2) != HAL_OK)
  {
    Error_Handler();
  }

}

static void MX_USART6_UART_Init(void)
{

  huart6.Instance = USART6;
  huart6.Init.BaudRate = 9600;
  huart6.Init.WordLength = UART_WORDLENGTH_8B;
  huart6.Init.StopBits = UART_STOPBITS_1;
  huart6.Init.Parity = UART_PARITY_NONE;
  huart6.Init.Mode = UART_MODE_TX_RX;
  huart6.Init.HwFlowCtl = UART_HWCONTROL_NONE;
  huart6.Init.OverSampling = UART_OVERSAMPLING_16;
  if (HAL_UART_Init(&huart6) != HAL_OK)
  {
    Error_Handler();
  }

}

static void MX_DMA_Init(void)
{

  /* DMA controller clock enable */
  __HAL_RCC_DMA1_CLK_ENABLE();
  __HAL_RCC_DMA2_CLK_ENABLE();

  /* DMA interrupt init */
  /* DMA1_Stream2_IRQn interrupt configuration */
  HAL_NVIC_SetPriority(DMA1_Stream2_IRQn, 5, 0);
  HAL_NVIC_EnableIRQ(DMA1_Stream2_IRQn);
  /* DMA1_Stream5_IRQn interrupt configuration */
  HAL_NVIC_SetPriority(DMA1_Stream5_IRQn, 5, 0);
  HAL_NVIC_EnableIRQ(DMA1_Stream5_IRQn);
  /* DMA2_Stream0_IRQn interrupt configuration */
  HAL_NVIC_SetPriority(DMA2_Stream0_IRQn, 5, 0);
  HAL_NVIC_EnableIRQ(DMA2_Stream0_IRQn);
  /* DMA2_Stream1_IRQn interrupt configuration */
  HAL_NVIC_SetPriority(DMA2_Stream1_IRQn, 5, 0);
  HAL_NVIC_EnableIRQ(DMA2_Stream1_IRQn);
  /* DMA2_Stream2_IRQn interrupt configuration */
  HAL_NVIC_SetPriority(DMA2_Stream2_IRQn, 5, 0);
  HAL_NVIC_EnableIRQ(DMA2_Stream2_IRQn);

}

static void MX_GPIO_Init(void)
{
  GPIO_InitTypeDef GPIO_InitStruct = {0};

  /* GPIO Ports Clock Enable */
  __HAL_RCC_GPIOC_CLK_ENABLE();
  __HAL_RCC_GPIOH_CLK_ENABLE();
  __HAL_RCC_GPIOA_CLK_ENABLE();
  __HAL_RCC_GPIOB_CLK_ENABLE();
  __HAL_RCC_GPIOD_CLK_ENABLE();

  /*Configure GPIO pin Output Level */
  HAL_GPIO_WritePin(GPIOC, SIM_KEY_Pin|SIM_PW_Pin|RS485_DE1_Pin, GPIO_PIN_RESET);

  /*Configure GPIO pin Output Level */
  HAL_GPIO_WritePin(GPIOA, WIFI_PW_Pin|LED_R_Pin|RS485_DE2_Pin|LED_G_Pin
                          |LED_B_Pin, GPIO_PIN_RESET);

  /*Configure GPIO pin Output Level */
  HAL_GPIO_WritePin(GPIOB, COL0_Pin|COL1_Pin|COL2_Pin|COL3_Pin
                          |COL4_Pin, GPIO_PIN_SET);

  /*Configure GPIO pin Output Level */
  HAL_GPIO_WritePin(GPIOB, OUT1_Pin|OUT2_Pin|OUT3_Pin|OUT4_Pin
                          |LCD_CS_Pin|LCD_MOSI_Pin|LCD_SCLK1_Pin|LCD_SCLK2_Pin, GPIO_PIN_RESET);

  /*Configure GPIO pin Output Level */
  HAL_GPIO_WritePin(FLS_CS_GPIO_Port, FLS_CS_Pin, GPIO_PIN_RESET);

  /*Configure GPIO pins : SIM_KEY_Pin SIM_PW_Pin RS485_DE1_Pin */
  GPIO_InitStruct.Pin = SIM_KEY_Pin|SIM_PW_Pin|RS485_DE1_Pin;
  GPIO_InitStruct.Mode = GPIO_MODE_OUTPUT_PP;
  GPIO_InitStruct.Pull = GPIO_NOPULL;
  GPIO_InitStruct.Speed = GPIO_SPEED_FREQ_LOW;
  HAL_GPIO_Init(GPIOC, &GPIO_InitStruct);

  /*Configure GPIO pins : WIFI_PW_Pin LED_R_Pin RS485_DE2_Pin LED_G_Pin
                           LED_B_Pin */
  GPIO_InitStruct.Pin = WIFI_PW_Pin|LED_R_Pin|RS485_DE2_Pin|LED_G_Pin
                          |LED_B_Pin;
  GPIO_InitStruct.Mode = GPIO_MODE_OUTPUT_PP;
  GPIO_InitStruct.Pull = GPIO_NOPULL;
  GPIO_InitStruct.Speed = GPIO_SPEED_FREQ_LOW;
  HAL_GPIO_Init(GPIOA, &GPIO_InitStruct);

  /*Configure GPIO pins : ROW0_Pin ROW1_Pin */
  GPIO_InitStruct.Pin = ROW0_Pin|ROW1_Pin;
  GPIO_InitStruct.Mode = GPIO_MODE_INPUT;
  GPIO_InitStruct.Pull = GPIO_PULLUP;
  HAL_GPIO_Init(GPIOA, &GPIO_InitStruct);

  /*Configure GPIO pins : ROW2_Pin ROW3_Pin */
  GPIO_InitStruct.Pin = ROW2_Pin|ROW3_Pin;
  GPIO_InitStruct.Mode = GPIO_MODE_INPUT;
  GPIO_InitStruct.Pull = GPIO_PULLUP;
  HAL_GPIO_Init(GPIOC, &GPIO_InitStruct);

  /*Configure GPIO pins : COL0_Pin COL1_Pin COL2_Pin COL3_Pin
                           COL4_Pin */
  GPIO_InitStruct.Pin = COL0_Pin|COL1_Pin|COL2_Pin|COL3_Pin
                          |COL4_Pin;
  GPIO_InitStruct.Mode = GPIO_MODE_OUTPUT_PP;
  GPIO_InitStruct.Pull = GPIO_NOPULL;
  GPIO_InitStruct.Speed = GPIO_SPEED_FREQ_HIGH;
  HAL_GPIO_Init(GPIOB, &GPIO_InitStruct);

  /*Configure GPIO pins : OUT1_Pin OUT2_Pin OUT3_Pin OUT4_Pin */
  GPIO_InitStruct.Pin = OUT1_Pin|OUT2_Pin|OUT3_Pin|OUT4_Pin;
  GPIO_InitStruct.Mode = GPIO_MODE_OUTPUT_PP;
  GPIO_InitStruct.Pull = GPIO_NOPULL;
  GPIO_InitStruct.Speed = GPIO_SPEED_FREQ_LOW;
  HAL_GPIO_Init(GPIOB, &GPIO_InitStruct);

  /*Configure GPIO pin : FLS_CS_Pin */
  GPIO_InitStruct.Pin = FLS_CS_Pin;
  GPIO_InitStruct.Mode = GPIO_MODE_OUTPUT_PP;
  GPIO_InitStruct.Pull = GPIO_NOPULL;
  GPIO_InitStruct.Speed = GPIO_SPEED_FREQ_VERY_HIGH;
  HAL_GPIO_Init(FLS_CS_GPIO_Port, &GPIO_InitStruct);

  /*Configure GPIO pins : LCD_CS_Pin LCD_MOSI_Pin LCD_SCLK1_Pin LCD_SCLK2_Pin */
  GPIO_InitStruct.Pin = LCD_CS_Pin|LCD_MOSI_Pin|LCD_SCLK1_Pin|LCD_SCLK2_Pin;
  GPIO_InitStruct.Mode = GPIO_MODE_OUTPUT_PP;
  GPIO_InitStruct.Pull = GPIO_NOPULL;
  GPIO_InitStruct.Speed = GPIO_SPEED_FREQ_VERY_HIGH;
  HAL_GPIO_Init(GPIOB, &GPIO_InitStruct);

}

void StartInitTask(void *argument)
{
  /* USER CODE BEGIN 5 */
  /* Infinite loop */
  for(;;)
  {
  	HAL_TIM_PWM_Start(&LCD_PWM, LCD_PWM_CHANNEL);
  	ExFlash_Init();
  	ADC_Start();
  	Buzzer_Init();
  	LCD_LoadConfigFromFlash();
  	osThreadExit();
    osDelay(10);
  }
  /* USER CODE END 5 */
}

void StartDisplayLCDTask(void *argument)
{
  /* USER CODE BEGIN StartDisplayLCDTask */
	LCD_Init();
	LCD_StartupPage();
  /* Infinite loop */
  for(;;)
  {
  	LCD_SwitchContextPage();
    osDelay(10);
  }
  /* USER CODE END StartDisplayLCDTask */
}

void StartModbusMasterTask(void *argument)
{
  /* USER CODE BEGIN StartModbusMasterTask */
	ModbusMaster_Init();
  /* Infinite loop */
  for(;;)
  {
  	ModbusMaster_Poll();
    osDelay(10);
  }
  /* USER CODE END StartModbusMasterTask */
}

void StartModbusSlaveTask(void *argument)
{
  /* USER CODE BEGIN StartModbusSlaveTask */
	ModbusSlave_Init();
  /* Infinite loop */
  for(;;)
  {
  	ModbusSlave_Poll();
    osDelay(10);
  }
  /* USER CODE END StartModbusSlaveTask */
}

void StartNetworkTask(void *argument)
{
  /* USER CODE BEGIN StartNetworkTask */
	Network_Init();
  /* Infinite loop */
  for(;;)
  {
  	Network_Poll();
    osDelay(10);
  }
  /* USER CODE END StartNetworkTask */
}

void HAL_TIM_PeriodElapsedCallback(TIM_HandleTypeDef *htim)
{
  if (htim->Instance == TIM1) {
    HAL_IncTick();
  }
}

void Error_Handler(void)
{
  __disable_irq();
  while (1)
  {
  }
}

/************************ (C) COPYRIGHT STMicroelectronics *****END OF FILE****/

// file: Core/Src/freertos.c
/* USER CODE BEGIN Header */
/**
  ******************************************************************************
  * File Name          : freertos.c
  * Description        : Code for freertos applications
  ******************************************************************************
  * @attention
  *
  * <h2><center>&copy; Copyright (c) 2021 STMicroelectronics.
  * All rights reserved.</center></h2>
  *
  * This software component is licensed by ST under Ultimate Liberty license
  * SLA0044, the "License"; You may not use this file except in compliance with
  * the License. You may obtain a copy of the License at:
  *                             www.st.com/SLA0044
  *
  ******************************************************************************
  */
/* USER CODE END Header */

#include "FreeRTOS.h"
#include "task.h"
#include "main.h"

/* Hook prototypes */
void vApplicationIdleHook(void);
void vApplicationTickHook(void);

/* USER CODE BEGIN 2 */
__weak void vApplicationIdleHook( void )
{
   /* vApplicationIdleHook() will only be called if configUSE_IDLE_HOOK is set
   to 1 in FreeRTOSConfig.h. It will be called on each iteration of the idle
   task. It is essential that code added to this hook function never attempts
   to block in any way (for example, call xQueueReceive() with a block time
   specified, or call vTaskDelay()). If the application makes use of the
   vTaskDelete() API function (as this demo application does) then it is also
   important that vApplicationIdleHook() is permitted to return to its calling
   function, because it is the responsibility of the idle task to clean up
   memory allocated by the kernel to any task that has since been deleted. */
}
/* USER CODE END 2 */

/* USER CODE BEGIN 3 */
__weak void vApplicationTickHook( void )
{
   /* This function will be called by each tick interrupt if
   configUSE_TICK_HOOK is set to 1 in FreeRTOSConfig.h. User code can be
   added here, but the tick hook is called from an interrupt context, so
   code must not attempt to block, and only the interrupt safe FreeRTOS API
   functions can be used (those that end in FromISR()). */
}
/* USER CODE END 3 */

/************************ (C) COPYRIGHT STMicroelectronics *****END OF FILE****/
